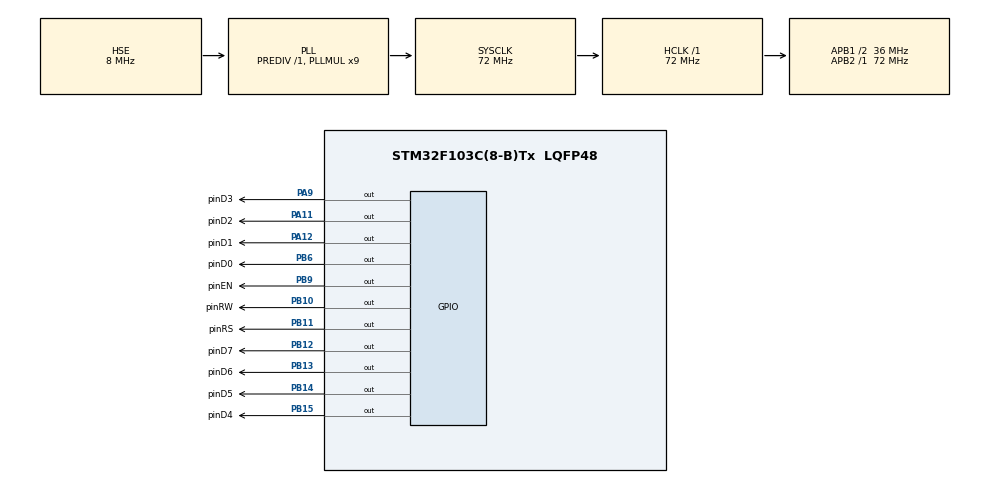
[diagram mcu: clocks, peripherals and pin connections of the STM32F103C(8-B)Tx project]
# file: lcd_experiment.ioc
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Mcu.Family=STM32F1
Mcu.Name=STM32F103C(8-B)Tx
Mcu.Package=LQFP48
NVIC.PriorityGroup=NVIC_PRIORITYGROUP_4
PA11.GPIO_Label=pinD2
PA11.Signal=GPIO_Output
PA12.GPIO_Label=pinD1
PA12.Signal=GPIO_Output
PA13.Mode=Serial_Wire
PA13.Signal=SYS_JTMS-SWDIO
PA14.Mode=Serial_Wire
PA14.Signal=SYS_JTCK-SWCLK
PA9.GPIO_Label=pinD3
PA9.Signal=GPIO_Output
PB10.GPIO_Label=pinRW
PB10.Signal=GPIO_Output
PB11.GPIO_Label=pinRS
PB11.Signal=GPIO_Output
PB12.GPIO_Label=pinD7
PB12.Signal=GPIO_Output
PB13.GPIO_Label=pinD6
PB13.Signal=GPIO_Output
PB14.GPIO_Label=pinD5
PB14.Signal=GPIO_Output
PB15.GPIO_Label=pinD4
PB15.Signal=GPIO_Output
PB6.GPIO_Label=pinD0
PB6.Signal=GPIO_Output
PB9.GPIO_Label=pinEN
PB9.Signal=GPIO_Output
PD0-OSC_IN.Mode=HSE-External-Oscillator
PD0-OSC_IN.Signal=RCC_OSC_IN
PD1-OSC_OUT.Mode=HSE-External-Oscillator
PD1-OSC_OUT.Signal=RCC_OSC_OUT
ProjectManager.HeapSize=0x200
ProjectManager.StackSize=0x400
ProjectManager.TargetToolchain=Makefile
RCC.AHBFreq_Value=72000000
RCC.APB1CLKDivider=RCC_HCLK_DIV2
RCC.APB1Freq_Value=36000000
RCC.APB1TimFreq_Value=72000000
RCC.APB2Freq_Value=72000000
RCC.APB2TimFreq_Value=72000000
RCC.HCLKFreq_Value=72000000
RCC.PLLMUL=RCC_PLL_MUL9
RCC.PLLSourceVirtual=RCC_PLLSOURCE_HSE
RCC.SYSCLKFreq_VALUE=72000000
RCC.SYSCLKSource=RCC_SYSCLKSOURCE_PLLCLK
RCC.USBFreq_Value=72000000
board=custom

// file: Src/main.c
/**
 ******************************************************************************
 * @file           : main.c
 * @brief          : Main program body
 ******************************************************************************
 ** This notice applies to any and all portions of this file
 * that are not between comment pairs USER CODE BEGIN and
 * USER CODE END. Other portions of this file, whether
 * inserted by the user or by software development tools
 * are owned by their respective copyright owners.
 *
 * COPYRIGHT(c) 2019 STMicroelectronics
 *
 * Redistribution and use in source and binary forms, with or without
 * modification, are permitted provided that the following conditions are met:
 *   1. Redistributions of source code must retain the above copyright notice,
 *      this list of conditions and the following disclaimer.
 *   2. Redistributions in binary form must reproduce the above copyright
 * notice, this list of conditions and the following disclaimer in the
 * documentation and/or other materials provided with the distribution.
 *   3. Neither the name of STMicroelectronics nor the names of its contributors
 *      may be used to endorse or promote products derived from this software
 *      without specific prior written permission.
 *
 * THIS SOFTWARE IS PROVIDED BY THE COPYRIGHT HOLDERS AND CONTRIBUTORS "AS IS"
 * AND ANY EXPRESS OR IMPLIED WARRANTIES, INCLUDING, BUT NOT LIMITED TO, THE
 * IMPLIED WARRANTIES OF MERCHANTABILITY AND FITNESS FOR A PARTICULAR PURPOSE
 * ARE DISCLAIMED. IN NO EVENT SHALL THE COPYRIGHT HOLDER OR CONTRIBUTORS BE
 * LIABLE FOR ANY DIRECT, INDIRECT, INCIDENTAL, SPECIAL, EXEMPLARY, OR
 * CONSEQUENTIAL DAMAGES (INCLUDING, BUT NOT LIMITED TO, PROCUREMENT OF
 * SUBSTITUTE GOODS OR SERVICES; LOSS OF USE, DATA, OR PROFITS; OR BUSINESS
 * INTERRUPTION) HOWEVER CAUSED AND ON ANY THEORY OF LIABILITY, WHETHER IN
 * CONTRACT, STRICT LIABILITY, OR TORT (INCLUDING NEGLIGENCE OR OTHERWISE)
 * ARISING IN ANY WAY OUT OF THE USE OF THIS SOFTWARE, EVEN IF ADVISED OF THE
 * POSSIBILITY OF SUCH DAMAGE.
 *
 ******************************************************************************
 */
#include "main.h"
#include "lib_lcd.h"
#include "stm32f1xx_hal.h"

/* USER CODE BEGIN PV */
/* Private variables ---------------------------------------------------------*/

/* USER CODE END PV */

void SystemClock_Config(void);
static void MX_GPIO_Init(void);
// static void blink(GPIO_TypeDef *GPIOx, uint16_t GPIO_Pin) {
//   HAL_GPIO_WritePin(GPIOx, GPIO_Pin, GPIO_PIN_SET);
// }

/* USER CODE BEGIN PFP */
/* Private function prototypes -----------------------------------------------*/

/* USER CODE END PFP */

int main(void) {

        /* MCU
         * Configuration----------------------------------------------------------*/

        /* Reset of all peripherals, Initializes the Flash interface and the Systick.
         */
        HAL_Init();

        /* Configure the system clock */
        SystemClock_Config();

        /* Initialize all configured peripherals */
        MX_GPIO_Init();
        /* USER CODE BEGIN 2 */
        LCD_DRIVER lcd;
        /*Register Pin init*/
        lcd.enPin.PIN = pinEN_Pin;
        lcd.rsPin.PIN = pinRS_Pin;
        lcd.rwPin.PIN = pinRW_Pin;

        /*Register GPIO sector init*/
        lcd.enPin.GPIOSEKTOR = pinEN_GPIO_Port;
        lcd.rsPin.GPIOSEKTOR = pinRS_GPIO_Port;
        lcd.rwPin.GPIOSEKTOR = pinRW_GPIO_Port;

        /*BIT 0-7*/
        lcd.BIT0.GPIOSEKTOR = pinD0_GPIO_Port;
        lcd.BIT1.GPIOSEKTOR = pinD1_GPIO_Port;
        lcd.BIT2.GPIOSEKTOR = pinD2_GPIO_Port;
        lcd.BIT3.GPIOSEKTOR = pinD3_GPIO_Port;
        lcd.BIT4.GPIOSEKTOR = pinD4_GPIO_Port;
        lcd.BIT5.GPIOSEKTOR = pinD5_GPIO_Port;
        lcd.BIT6.GPIOSEKTOR = pinD6_GPIO_Port;
        lcd.BIT7.GPIOSEKTOR = pinD7_GPIO_Port;

        lcd.BIT0.PIN = pinD0_Pin;
        lcd.BIT1.PIN = pinD1_Pin;
        lcd.BIT2.PIN = pinD2_Pin;
        lcd.BIT3.PIN = pinD3_Pin;
        lcd.BIT4.PIN = pinD4_Pin;
        lcd.BIT5.PIN = pinD5_Pin;
        lcd.BIT6.PIN = pinD6_Pin;
        lcd.BIT7.PIN = pinD7_Pin;

        /* USER CODE END 2 */

        beginLCD(&lcd);
        /* Infinite loop */
        while (1) {
                /* USER CODE BEGIN WHILE */
                // sendcharTolcd("i", &lcd);
                sendcharTolcd("test", &lcd);
                /* USER CODE END WHILE */
        }

}

void SystemClock_Config(void) {

        RCC_OscInitTypeDef RCC_OscInitStruct;
        RCC_ClkInitTypeDef RCC_ClkInitStruct;

        /**Initializes the CPU, AHB and APB busses clocks
         */
        RCC_OscInitStruct.OscillatorType = RCC_OSCILLATORTYPE_HSE;
        RCC_OscInitStruct.HSEState = RCC_HSE_ON;
        RCC_OscInitStruct.HSEPredivValue = RCC_HSE_PREDIV_DIV1;
        RCC_OscInitStruct.HSIState = RCC_HSI_ON;
        RCC_OscInitStruct.PLL.PLLState = RCC_PLL_ON;
        RCC_OscInitStruct.PLL.PLLSource = RCC_PLLSOURCE_HSE;
        RCC_OscInitStruct.PLL.PLLMUL = RCC_PLL_MUL9;
        if (HAL_RCC_OscConfig(&RCC_OscInitStruct) != HAL_OK) {
                _Error_Handler(__FILE__, __LINE__);
        }

        /**Initializes the CPU, AHB and APB busses clocks
         */
        RCC_ClkInitStruct.ClockType = RCC_CLOCKTYPE_HCLK | RCC_CLOCKTYPE_SYSCLK |
                                      RCC_CLOCKTYPE_PCLK1 | RCC_CLOCKTYPE_PCLK2;
        RCC_ClkInitStruct.SYSCLKSource = RCC_SYSCLKSOURCE_PLLCLK;
        RCC_ClkInitStruct.AHBCLKDivider = RCC_SYSCLK_DIV1;
        RCC_ClkInitStruct.APB1CLKDivider = RCC_HCLK_DIV2;
        RCC_ClkInitStruct.APB2CLKDivider = RCC_HCLK_DIV1;

        if (HAL_RCC_ClockConfig(&RCC_ClkInitStruct, FLASH_LATENCY_2) != HAL_OK) {
                _Error_Handler(__FILE__, __LINE__);
        }

        /**Configure the Systick interrupt time
         */
        HAL_SYSTICK_Config(HAL_RCC_GetHCLKFreq() / 1000);

        /**Configure the Systick
         */
        HAL_SYSTICK_CLKSourceConfig(SYSTICK_CLKSOURCE_HCLK);

        /* SysTick_IRQn interrupt configuration */
        HAL_NVIC_SetPriority(SysTick_IRQn, 0, 0);
}

/** Configure pins as
 * Analog
 * Input
 * Output
 * EVENT_OUT
 * EXTI
 */
static void MX_GPIO_Init(void) {

        GPIO_InitTypeDef GPIO_InitStruct;

        /* GPIO Ports Clock Enable */
        __HAL_RCC_GPIOD_CLK_ENABLE();
        __HAL_RCC_GPIOB_CLK_ENABLE();
        __HAL_RCC_GPIOA_CLK_ENABLE();

        /*Configure GPIO pin Output Level */
        HAL_GPIO_WritePin(GPIOB,
                          pinRW_Pin | pinRS_Pin | pinD7_Pin | pinD6_Pin | pinD5_Pin |
                          pinD4_Pin | pinD0_Pin | pinEN_Pin,
                          GPIO_PIN_RESET);

        /*Configure GPIO pin Output Level */
        HAL_GPIO_WritePin(GPIOA, pinD3_Pin | pinD2_Pin | pinD1_Pin, GPIO_PIN_RESET);

        /*Configure GPIO pins : pinRW_Pin pinRS_Pin pinD7_Pin pinD6_Pin
                                 pinD5_Pin pinD4_Pin pinD0_Pin pinEN_Pin */
        GPIO_InitStruct.Pin = pinRW_Pin | pinRS_Pin | pinD7_Pin | pinD6_Pin |
                              pinD5_Pin | pinD4_Pin | pinD0_Pin | pinEN_Pin;
        GPIO_InitStruct.Mode = GPIO_MODE_OUTPUT_PP;
        GPIO_InitStruct.Pull = GPIO_NOPULL;
        GPIO_InitStruct.Speed = GPIO_SPEED_FREQ_LOW;
        HAL_GPIO_Init(GPIOB, &GPIO_InitStruct);

        /*Configure GPIO pins : pinD3_Pin pinD2_Pin pinD1_Pin */
        GPIO_InitStruct.Pin = pinD3_Pin | pinD2_Pin | pinD1_Pin;
        GPIO_InitStruct.Mode = GPIO_MODE_OUTPUT_PP;
        GPIO_InitStruct.Pull = GPIO_NOPULL;
        GPIO_InitStruct.Speed = GPIO_SPEED_FREQ_LOW;
        HAL_GPIO_Init(GPIOA, &GPIO_InitStruct);
}

void _Error_Handler(char *file, int line) {
        while (1) {
        }
}

#ifdef USE_FULL_ASSERT
/**
 * @brief  Reports the name of the source file and the source line number
 *         where the assert_param error has occurred.
 * @param  file: pointer to the source file name
 * @param  line: assert_param error line source number
 * @retval None
 */
void assert_failed(uint8_t *file, uint32_t line) {
        /* USER CODE BEGIN 6 */
        /* User can add his own implementation to report the file name and line
           number,
           tex: printf("Wrong parameters value: file %s on line %d\r\n", file, line)
         */
        /* USER CODE END 6 */
}
#endif /* USE_FULL_ASSERT */

/************************ (C) COPYRIGHT STMicroelectronics *****END OF FILE****/
